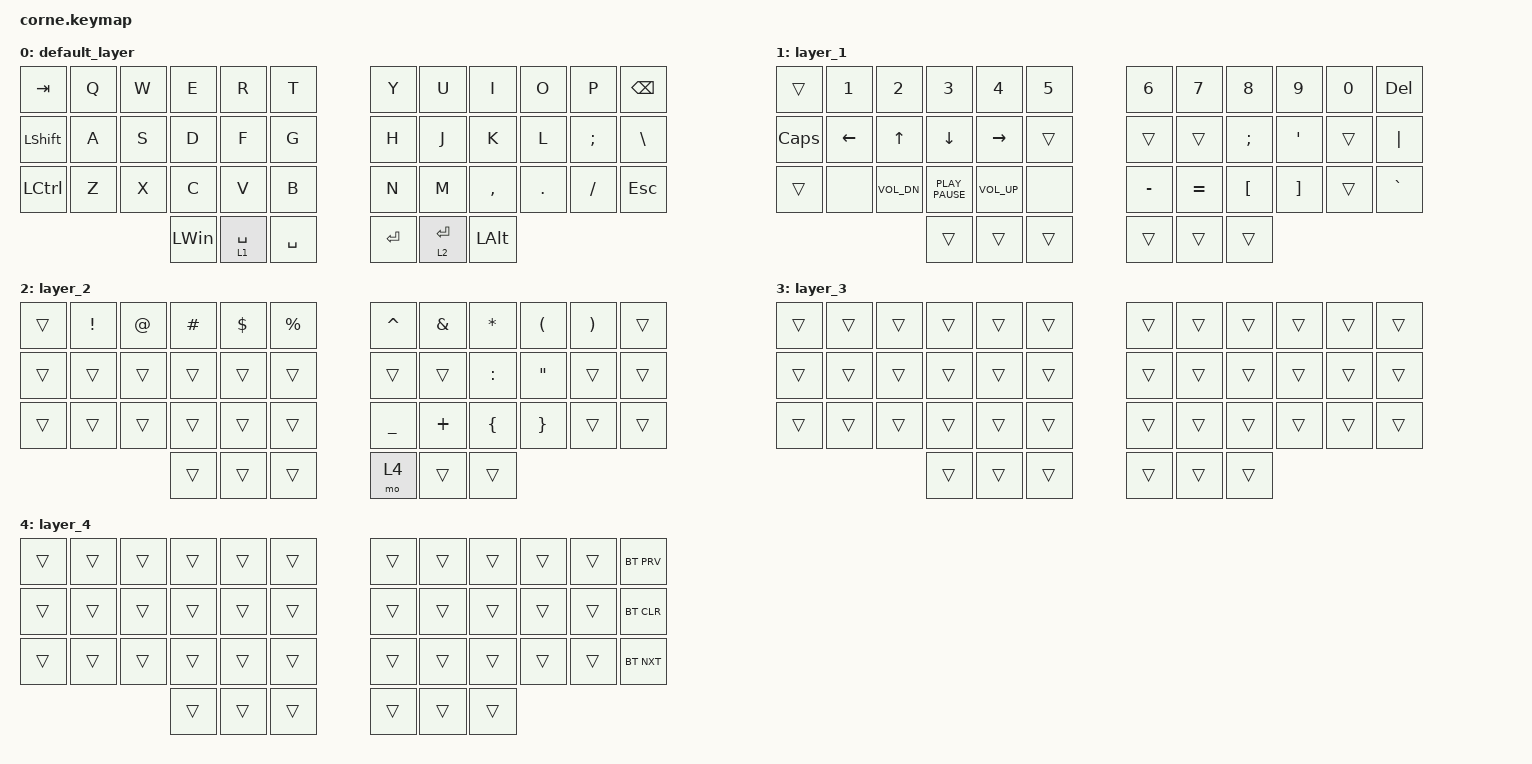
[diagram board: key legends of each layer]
/*
 * Copyright (c) 2020 The ZMK Contributors
 *
 * SPDX-License-Identifier: MIT
 */

#include <behaviors.dtsi>
#include <dt-bindings/zmk/bt.h>
#include <dt-bindings/zmk/keys.h>

/ {
    combos {
        compatible = "zmk,combos";

        combo1 {
            bindings = <&kp LBKT>;
            key-positions = <3 4>;
        };

        combo2 {
            bindings = <&kp RBKT>;
            key-positions = <7 8>;
        };

        combo3 {
            bindings = <&kp LEFT_PARENTHESIS>;
            key-positions = <15 16>;
        };

        combo4 {
            bindings = <&kp RIGHT_PARENTHESIS>;
            key-positions = <19 20>;
        };

        combo5 {
            bindings = <&kp LEFT_BRACE>;
            key-positions = <27 28>;
        };

        combo6 {
            bindings = <&kp RIGHT_BRACE>;
            key-positions = <31 32>;
        };

        combo7 {
            bindings = <&kp BACKSLASH>;
            key-positions = <5 6>;
        };

        combo8 {
            bindings = <&kp PIPE>;
            key-positions = <17 18>;
        };
    };

    behaviors {
        tab_esc_ctrl: tab_esc_ctrl {
            compatible = "zmk,behavior-tap-dance";
            label = "TAB_ESC_CTRL";
            #binding-cells = <0>;
            bindings = <&mt LCTRL ESC>, <&kp TAB>;
        };

        gqt: global-quick-tap {
            compatible = "zmk,behavior-hold-tap";
            label = "GLOBAL_QUICK_TAP";
            bindings = <&kp>, <&kp>;

            #binding-cells = <2>;
            tapping-term-ms = <300>;
            quick-tap-ms = <180>;
            global-quick-tap;
            flavor = "tap-preferred";
        };

        ltq: ltq {
            compatible = "zmk,behavior-hold-tap";
            label = "LTQ";
            bindings = <&mo>, <&kp>;

            #binding-cells = <2>;
            tapping-term-ms = <200>;
            quick-tap-ms = <180>;
            global-quick-tap;
        };
    };

    keymap {
        compatible = "zmk,keymap";

        default_layer {
            bindings = <
&kp TAB         &kp Q  &kp W  &kp E         &kp R        &kp T        &kp Y      &kp U        &kp I         &kp O    &kp P          &kp BACKSPACE
&kp LEFT_SHIFT  &kp A  &kp S  &kp D         &kp F        &kp G        &kp H      &kp J        &kp K         &kp L    &kp SEMICOLON  &kp BACKSLASH
&kp LCTRL       &kp Z  &kp X  &kp C         &kp V        &kp B        &kp N      &kp M        &kp COMMA     &kp DOT  &kp FSLH       &kp ESC
                              &kp LEFT_WIN  &lt 1 SPACE  &kp SPACE    &kp ENTER  &lt 2 ENTER  &kp LEFT_ALT
            >;
        };

        layer_1 {
            bindings = <
&trans    &kp NUMBER_1  &kp NUMBER_2  &kp NUMBER_3      &kp NUMBER_4     &kp NUMBER_5    &kp NUMBER_6  &kp NUMBER_7  &kp NUMBER_8      &kp NUMBER_9       &kp NUMBER_0  &kp DELETE
&kp CAPS  &kp LEFT      &kp UP        &kp DOWN          &kp RIGHT        &trans          &trans        &trans        &kp SEMICOLON     &kp SINGLE_QUOTE   &trans        &kp PIPE
&trans    &none         &kp C_VOL_DN  &kp K_PLAY_PAUSE  &kp C_VOLUME_UP  &none           &kp MINUS     &kp EQUAL     &kp LEFT_BRACKET  &kp RIGHT_BRACKET  &trans        &kp GRAVE
                                      &trans            &trans           &trans          &trans        &trans        &trans
            >;
        };

        layer_2 {
            bindings = <
&trans  &kp EXCLAMATION  &kp AT_SIGN  &kp HASH  &kp DOLLAR  &kp PERCENT    &kp CARET       &kp AMPERSAND  &kp ASTERISK    &kp LEFT_PARENTHESIS  &kp RIGHT_PARENTHESIS  &trans
&trans  &trans           &trans       &trans    &trans      &trans         &trans          &trans         &kp COLON       &kp DOUBLE_QUOTES     &trans                 &trans
&trans  &trans           &trans       &trans    &trans      &trans         &kp UNDERSCORE  &kp PLUS       &kp LEFT_BRACE  &kp RIGHT_BRACE       &trans                 &trans
                                      &trans    &trans      &trans         &mo 4           &trans         &trans
            >;
        };

        layer_3 {
            bindings = <
&trans  &trans  &trans  &trans  &trans  &trans    &trans  &trans  &trans  &trans  &trans  &trans
&trans  &trans  &trans  &trans  &trans  &trans    &trans  &trans  &trans  &trans  &trans  &trans
&trans  &trans  &trans  &trans  &trans  &trans    &trans  &trans  &trans  &trans  &trans  &trans
                        &trans  &trans  &trans    &trans  &trans  &trans
            >;
        };

        layer_4 {
            bindings = <
&trans  &trans  &trans  &trans  &trans  &trans    &trans  &trans  &trans  &trans  &trans  &bt BT_PRV
&trans  &trans  &trans  &trans  &trans  &trans    &trans  &trans  &trans  &trans  &trans  &bt BT_CLR
&trans  &trans  &trans  &trans  &trans  &trans    &trans  &trans  &trans  &trans  &trans  &bt BT_NXT
                        &trans  &trans  &trans    &trans  &trans  &trans
            >;
        };
    };
};
